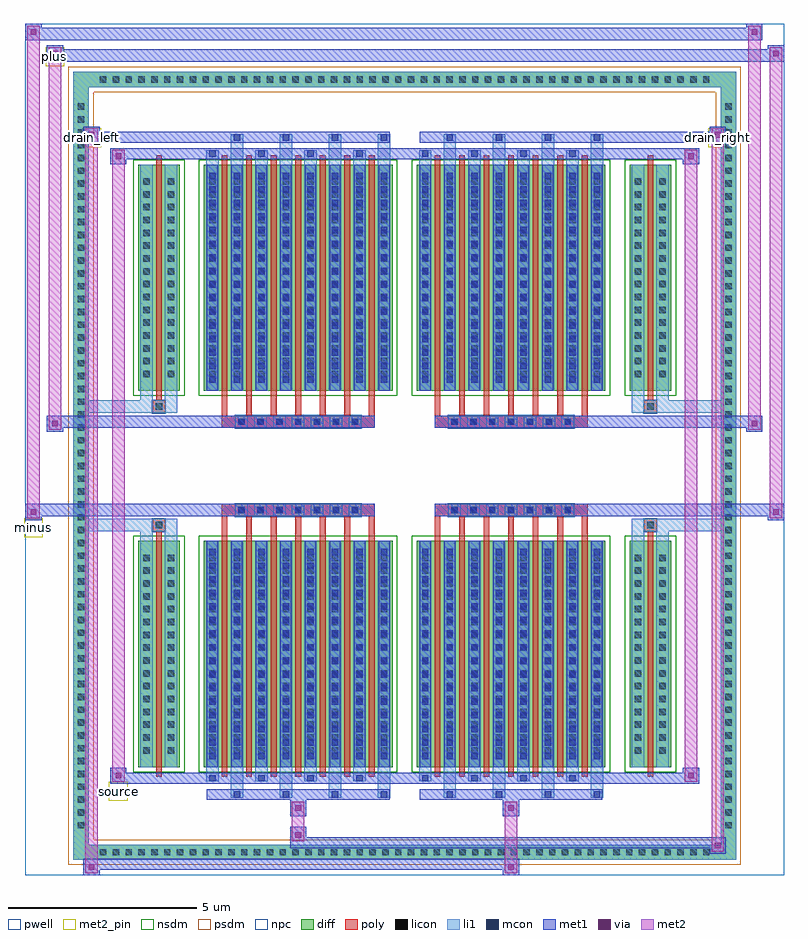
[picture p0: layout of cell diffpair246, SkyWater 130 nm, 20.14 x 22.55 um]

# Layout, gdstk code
import gdstk
lib = gdstk.Library(unit=1e-6, precision=5e-09)
def R(c, l, rs):  # rectangles x0, y0, x1, y1
    for r in rs: c.add(gdstk.rectangle(r[:2], r[2:], *l))
def A(c, l, x, y, w, h, nx, ny, dx, dy):  # array of equal rectangles
    R(c, l, [(x+i*dx, y+j*dy, x+i*dx+w, y+j*dy+h) for i in range(nx) for j in range(ny)])
def P(c, l, *ps):  # polygons
    for p in ps: c.add(gdstk.Polygon(p, *l))
pwell = (64, 44)
diff = (65, 20)
poly = (66, 20)
licon = (66, 44)
li1 = (67, 20)
mcon = (67, 44)
met1 = (68, 20)
via = (68, 44)
met2_pin = (69, 16)
met2 = (69, 20)
nsdm = (93, 44)
psdm = (94, 20)
npc = (95, 20)

diffpair246 = lib.new_cell('diffpair246')
R(diffpair246, pwell, [(-10.05,-10.84,10.05,11.71), (-7.37,-9.03,-0.01,-0.805), (0.01,-9.03,7.37,-0.805), (-7.37,0.805,-0.01,9.03), (0.01,0.805,7.37,9.03)])
A(diffpair246, diff, -8.195, -10.44, 0.41, 0.41, 48, 2, 0.34, 20.47)
A(diffpair246, diff, -8.78, -9.725, 0.41, 0.41, 1, 57, 0, 0.34)
A(diffpair246, diff, 8.37, -9.725, 0.41, 0.41, 1, 57, 0, 0.34)
R(diffpair246, diff, [(-8.195,-10.44,8.195,-10.03), (-8.78,-9.725,-8.37,9.725), (8.37,-9.725,8.78,9.725), (-7.06,-7.985,-5.96,-1.985), (-5.32,-7.985,-0.32,-1.985), (0.32,-7.985,5.32,-1.985), (5.96,-7.985,7.06,-1.985), (-7.06,1.985,-5.96,7.985), (-5.32,1.985,-0.32,7.985), (0.32,1.985,5.32,7.985), (5.96,1.985,7.06,7.985), (-8.195,10.03,8.195,10.44)])
P(diffpair246, diff, [(8.78,10.44),(-8.78,10.44),(-8.78,-10.03),(-8.37,-10.03),(-8.37,10.03),(8.37,10.03),(8.37,-10.03),(-8.37,-10.03),(-8.78,-10.03),(-8.78,-10.44),(8.78,-10.44)])
A(diffpair246, poly, -4.845, -8.235, 0.15, 6.5, 7, 2, 0.65, 9.97)
A(diffpair246, poly, 0.795, -8.235, 0.15, 6.5, 7, 2, 0.65, 9.97)
A(diffpair246, poly, -4.845, -1.735, 0.15, 0.4, 7, 2, 0.65, 3.07)
A(diffpair246, poly, 0.795, -1.735, 0.15, 0.4, 7, 2, 0.65, 3.07)
A(diffpair246, poly, -4.485, -1.335, 0.33, 0.33, 7, 2, 0.5, 2.34)
A(diffpair246, poly, 1.155, -1.335, 0.33, 0.33, 7, 2, 0.5, 2.34)
R(diffpair246, poly, [(-6.585,-8.235,-6.435,-1.735), (6.435,-8.235,6.585,-1.735), (-6.675,-1.735,-6.345,-1.405), (-6.675,-1.735,-6.345,-1.405), (6.345,-1.735,6.675,-1.405), (6.345,-1.735,6.675,-1.405), (-4.845,-1.335,-0.795,-1.005), (0.795,-1.335,4.845,-1.005), (-4.845,1.005,-0.795,1.335), (0.795,1.005,4.845,1.335), (-6.675,1.405,-6.345,1.735), (-6.675,1.405,-6.345,1.735), (6.345,1.405,6.675,1.735), (6.345,1.405,6.675,1.735), (-6.585,1.735,-6.435,8.235), (6.435,1.735,6.585,8.235)])
A(diffpair246, licon, -8.075, -10.32, 0.17, 0.17, 48, 2, 0.34, 20.47)
A(diffpair246, licon, -8.66, -9.605, 0.17, 0.17, 1, 57, 0, 0.34)
A(diffpair246, licon, 8.49, -9.605, 0.17, 0.17, 1, 57, 0, 0.34)
A(diffpair246, licon, -6.92, -7.62, 0.17, 0.17, 1, 16, 0, 0.34)
A(diffpair246, licon, -6.27, -7.62, 0.17, 0.17, 1, 16, 0, 0.34)
A(diffpair246, licon, -5.18, -7.62, 0.17, 0.17, 8, 16, 0.65, 0.34)
A(diffpair246, licon, 0.46, -7.62, 0.17, 0.17, 8, 16, 0.65, 0.34)
A(diffpair246, licon, 6.1, -7.62, 0.17, 0.17, 1, 16, 0, 0.34)
A(diffpair246, licon, 6.75, -7.62, 0.17, 0.17, 1, 16, 0, 0.34)
A(diffpair246, licon, -4.405, -1.255, 0.17, 0.17, 7, 2, 0.5, 2.34)
A(diffpair246, licon, 1.235, -1.255, 0.17, 0.17, 7, 2, 0.5, 2.34)
A(diffpair246, licon, -6.92, 2.35, 0.17, 0.17, 1, 16, 0, 0.34)
A(diffpair246, licon, -6.27, 2.35, 0.17, 0.17, 1, 16, 0, 0.34)
A(diffpair246, licon, -5.18, 2.35, 0.17, 0.17, 8, 16, 0.65, 0.34)
A(diffpair246, licon, 0.46, 2.35, 0.17, 0.17, 8, 16, 0.65, 0.34)
A(diffpair246, licon, 6.1, 2.35, 0.17, 0.17, 1, 16, 0, 0.34)
A(diffpair246, licon, 6.75, 2.35, 0.17, 0.17, 1, 16, 0, 0.34)
R(diffpair246, licon, [(-6.595,-1.655,-6.425,-1.485), (6.425,-1.655,6.595,-1.485), (-6.595,1.485,-6.425,1.655), (6.425,1.485,6.595,1.655)])
A(diffpair246, li1, -8.155, -10.4, 0.33, 0.33, 48, 2, 0.34, 20.47)
A(diffpair246, li1, -8.74, -9.685, 0.33, 0.33, 1, 57, 0, 0.34)
A(diffpair246, li1, 8.41, -9.685, 0.33, 0.33, 1, 57, 0, 0.34)
A(diffpair246, li1, -4.61, -8.79, 0.33, 0.805, 4, 2, 1.3, 16.775)
A(diffpair246, li1, -4.53, -8.79, 0.17, 0.17, 4, 2, 1.3, 17.41)
A(diffpair246, li1, 1.03, -8.79, 0.33, 0.805, 4, 2, 1.3, 16.775)
A(diffpair246, li1, 1.11, -8.79, 0.17, 0.17, 4, 2, 1.3, 17.41)
A(diffpair246, li1, -5.26, -8.36, 0.33, 0.375, 4, 2, 1.3, 16.345)
A(diffpair246, li1, -5.18, -8.36, 0.17, 0.17, 4, 2, 1.3, 16.55)
A(diffpair246, li1, 0.38, -8.36, 0.33, 0.375, 4, 2, 1.3, 16.345)
A(diffpair246, li1, 0.46, -8.36, 0.17, 0.17, 4, 2, 1.3, 16.55)
A(diffpair246, li1, -5.26, -7.985, 0.33, 6, 8, 2, 0.65, 9.97)
A(diffpair246, li1, 0.38, -7.985, 0.33, 6, 8, 2, 0.65, 9.97)
A(diffpair246, li1, -5.18, -7.77, 0.17, 0.17, 8, 16, 0.65, 0.36)
A(diffpair246, li1, -5.18, -7.77, 0.17, 5.57, 8, 2, 0.65, 9.97)
A(diffpair246, li1, 0.46, -7.77, 0.17, 0.17, 8, 16, 0.65, 0.36)
A(diffpair246, li1, 0.46, -7.77, 0.17, 5.57, 8, 2, 0.65, 9.97)
A(diffpair246, li1, -7, -7.7, 0.33, 0.33, 1, 16, 0, 0.34)
A(diffpair246, li1, -6.35, -7.7, 0.33, 0.33, 1, 16, 0, 0.34)
A(diffpair246, li1, -5.26, -7.7, 0.33, 0.33, 8, 16, 0.65, 0.34)
A(diffpair246, li1, 0.38, -7.7, 0.33, 0.33, 8, 16, 0.65, 0.34)
A(diffpair246, li1, 6.02, -7.7, 0.33, 0.33, 1, 16, 0, 0.34)
A(diffpair246, li1, 6.67, -7.7, 0.33, 0.33, 1, 16, 0, 0.34)
A(diffpair246, li1, -4.485, -1.335, 0.33, 0.33, 7, 2, 0.5, 2.34)
A(diffpair246, li1, 1.155, -1.335, 0.33, 0.33, 7, 2, 0.5, 2.34)
A(diffpair246, li1, -5.18, 2.2, 0.17, 0.17, 8, 16, 0.65, 0.36)
A(diffpair246, li1, 0.46, 2.2, 0.17, 0.17, 8, 16, 0.65, 0.36)
A(diffpair246, li1, -7, 2.27, 0.33, 0.33, 1, 16, 0, 0.34)
A(diffpair246, li1, -6.35, 2.27, 0.33, 0.33, 1, 16, 0, 0.34)
A(diffpair246, li1, -5.26, 2.27, 0.33, 0.33, 8, 16, 0.65, 0.34)
A(diffpair246, li1, 0.38, 2.27, 0.33, 0.33, 8, 16, 0.65, 0.34)
A(diffpair246, li1, 6.02, 2.27, 0.33, 0.33, 1, 16, 0, 0.34)
A(diffpair246, li1, 6.67, 2.27, 0.33, 0.33, 1, 16, 0, 0.34)
R(diffpair246, li1, [(-8.78,-10.44,-8.37,-10.03), (-8.78,-10.44,-8.37,-10.03), (-8.37,-10.44,8.37,-10.03), (8.37,-10.44,8.78,-10.03), (8.37,-10.44,8.78,-10.03), (-8.78,-10.03,-8.37,10.03), (8.37,-10.03,8.78,10.03), (-7,-7.985,-6.67,-1.985), (-6.35,-7.985,-6.02,-1.985), (6.02,-7.985,6.35,-1.985), (6.67,-7.985,7,-1.985), (-7,-1.985,-6.67,-1.405), (-6.35,-1.985,-6.02,-1.405), (6.02,-1.985,6.35,-1.405), (6.67,-1.985,7,-1.405), (-8.78,-1.735,-6.675,-1.405), (-7,-1.735,-6.675,-1.405), (-6.675,-1.735,-6.345,-1.405), (-6.345,-1.735,-6.02,-1.405), (6.02,-1.735,6.345,-1.405), (6.345,-1.735,6.675,-1.405), (6.345,-1.735,8.78,-1.405), (6.675,-1.735,7,-1.405), (-8.78,1.405,-6.675,1.735), (-7,1.405,-6.675,1.735), (-7,1.405,-6.67,1.985), (-6.675,1.405,-6.345,1.735), (-6.35,1.405,-6.02,1.985), (-6.345,1.405,-6.02,1.735), (6.02,1.405,6.345,1.735), (6.02,1.405,6.35,1.985), (6.345,1.405,6.675,1.735), (6.345,1.405,8.78,1.735), (6.67,1.405,7,1.985), (6.675,1.405,7,1.735), (-7,1.985,-6.67,7.985), (-6.35,1.985,-6.02,7.985), (6.02,1.985,6.35,7.985), (6.67,1.985,7,7.985), (-8.78,10.03,-8.37,10.44), (-8.78,10.03,-8.37,10.44), (-8.37,10.03,8.37,10.44), (8.37,10.03,8.78,10.44), (8.37,10.03,8.78,10.44)])
A(diffpair246, mcon, -4.53, -8.79, 0.17, 0.17, 4, 2, 1.3, 17.41)
A(diffpair246, mcon, 1.11, -8.79, 0.17, 0.17, 4, 2, 1.3, 17.41)
A(diffpair246, mcon, -5.18, -8.36, 0.17, 0.17, 4, 2, 1.3, 16.55)
A(diffpair246, mcon, 0.46, -8.36, 0.17, 0.17, 4, 2, 1.3, 16.55)
A(diffpair246, mcon, -5.18, -7.77, 0.17, 0.17, 8, 16, 0.65, 0.36)
A(diffpair246, mcon, 0.46, -7.77, 0.17, 0.17, 8, 16, 0.65, 0.36)
A(diffpair246, mcon, -4.405, -1.255, 0.17, 0.17, 7, 2, 0.5, 2.34)
A(diffpair246, mcon, 1.235, -1.255, 0.17, 0.17, 7, 2, 0.5, 2.34)
A(diffpair246, mcon, -5.18, 2.2, 0.17, 0.17, 8, 16, 0.65, 0.36)
A(diffpair246, mcon, 0.46, 2.2, 0.17, 0.17, 8, 16, 0.65, 0.36)
A(diffpair246, met1, -4.59, -8.85, 0.29, 0.29, 4, 2, 1.3, 17.41)
A(diffpair246, met1, 1.05, -8.85, 0.29, 0.29, 4, 2, 1.3, 17.41)
A(diffpair246, met1, -5.24, -8.42, 0.29, 0.29, 4, 2, 1.3, 16.55)
A(diffpair246, met1, 0.4, -8.42, 0.29, 0.29, 4, 2, 1.3, 16.55)
A(diffpair246, met1, -5.24, -7.985, 0.29, 6, 8, 2, 0.65, 9.97)
A(diffpair246, met1, 0.4, -7.985, 0.29, 6, 8, 2, 0.65, 9.97)
A(diffpair246, met1, -5.24, -7.83, 0.29, 0.29, 8, 16, 0.65, 0.36)
A(diffpair246, met1, 0.4, -7.83, 0.29, 0.29, 8, 16, 0.65, 0.36)
A(diffpair246, met1, -4.465, -1.315, 0.29, 0.29, 7, 2, 0.5, 2.34)
A(diffpair246, met1, 1.175, -1.315, 0.29, 0.29, 7, 2, 0.5, 2.34)
A(diffpair246, met1, -5.24, 2.14, 0.29, 0.29, 8, 16, 0.65, 0.36)
A(diffpair246, met1, 0.4, 2.14, 0.29, 0.29, 8, 16, 0.65, 0.36)
R(diffpair246, met1, [(-8.51,-10.84,-8.08,-10.41), (2.605,-10.84,3.035,-10.41), (-8.51,-10.7,3.035,-10.41), (8.08,-10.27,8.51,-9.84), (-3.035,-10.13,8.51,-9.84), (-3.035,-9.99,-2.605,-9.56), (-3.035,-9.28,-2.605,-8.85), (2.605,-9.28,3.035,-8.85), (-5.24,-8.85,-0.4,-8.56), (0.4,-8.85,5.24,-8.56), (-7.8,-8.42,-7.37,-7.99), (-7.8,-8.42,-5.24,-8.13), (-5.24,-8.42,-0.4,-8.13), (-0.4,-8.42,0.4,-8.13), (0.4,-8.42,5.24,-8.13), (5.24,-8.42,7.8,-8.13), (7.37,-8.42,7.8,-7.99), (-10.05,-1.435,-9.62,-1.005), (9.62,-1.435,10.05,-1.005), (-10.05,-1.335,-0.795,-1.005), (-4.845,-1.335,-0.795,-1.005), (0.795,-1.335,4.845,-1.005), (0.795,-1.335,10.05,-1.005), (-9.48,0.905,-9.05,1.335), (9.05,0.905,9.48,1.335), (-9.48,1.005,-4.845,1.335), (-4.845,1.005,-0.795,1.335), (0.795,1.005,4.845,1.335), (4.845,1.005,9.48,1.335), (-7.8,7.99,-7.37,8.42), (7.37,7.99,7.8,8.42), (-7.8,8.13,-5.24,8.42), (-5.24,8.13,-0.4,8.42), (-0.4,8.13,0.4,8.42), (0.4,8.13,5.24,8.42), (5.24,8.13,7.8,8.42), (-8.51,8.56,-8.08,8.99), (-8.51,8.56,-5.24,8.85), (-5.24,8.56,-0.4,8.85), (0.4,8.56,5.24,8.85), (5.24,8.56,8.51,8.85), (8.08,8.56,8.51,8.99), (-9.48,10.71,-9.05,11.14), (-9.48,10.71,-7.37,11.04), (-7.37,10.71,7.37,11.04), (7.37,10.71,10.05,11.04), (9.62,10.71,10.05,11.14), (-10.05,11.28,-9.62,11.71), (-10.05,11.28,-7.37,11.61), (-7.37,11.28,7.37,11.61), (7.37,11.28,9.48,11.61), (9.05,11.28,9.48,11.71)])
R(diffpair246, via, [(-8.37,-10.7,-8.22,-10.55), (2.745,-10.7,2.895,-10.55), (8.22,-10.13,8.37,-9.98), (-2.895,-9.85,-2.745,-9.7), (-2.895,-9.14,-2.745,-8.99), (2.745,-9.14,2.895,-8.99), (-7.66,-8.28,-7.51,-8.13), (7.51,-8.28,7.66,-8.13), (-9.91,-1.295,-9.76,-1.145), (9.76,-1.295,9.91,-1.145), (-9.34,1.045,-9.19,1.195), (9.19,1.045,9.34,1.195), (-7.66,8.13,-7.51,8.28), (7.51,8.13,7.66,8.28), (-8.37,8.7,-8.22,8.85), (8.22,8.7,8.37,8.85), (-9.34,10.85,-9.19,11), (9.76,10.85,9.91,11), (-9.91,11.42,-9.76,11.57), (9.19,11.42,9.34,11.57)])
R(diffpair246, met2_pin, [(-7.835,-8.87,-7.335,-8.37), (-10.085,-1.885,-9.585,-1.385), (-8.545,8.44,-8.045,8.94), (8.045,8.44,8.545,8.94), (-9.515,10.59,-9.015,11.09)])
R(diffpair246, met2, [(-8.46,-10.79,-8.13,-10.46), (-8.46,-10.79,-8.13,8.94), (2.655,-10.79,2.985,-10.46), (2.655,-10.46,2.985,-9.23), (8.13,-10.22,8.46,-9.89), (8.13,-10.22,8.46,8.94), (-2.985,-9.94,-2.655,-9.61), (-2.985,-9.61,-2.655,-9.23), (-2.985,-9.23,-2.655,-8.9), (2.655,-9.23,2.985,-8.9), (-7.75,-8.37,-7.42,-8.04), (-7.75,-8.37,-7.42,8.37), (7.42,-8.37,7.75,-8.04), (7.42,-8.37,7.75,8.37), (-10,-1.385,-9.67,-1.055), (-10,-1.385,-9.67,11.66), (9.67,-1.385,10,-1.055), (9.67,-1.385,10,11.09), (-9.43,0.955,-9.1,1.285), (-9.43,0.955,-9.1,11.09), (9.1,0.955,9.43,1.285), (9.1,0.955,9.43,11.66), (-7.75,8.04,-7.42,8.37), (7.42,8.04,7.75,8.37), (-8.46,8.61,-8.13,8.94), (8.13,8.61,8.46,8.94), (-9.43,10.76,-9.1,11.09), (9.67,10.76,10,11.09), (-10,11.33,-9.67,11.66), (9.1,11.33,9.43,11.66)])
P(diffpair246, met2, [(10,-1.385),(10,-1.385),(10,-1.055),(10,-1.055)],
  [(10,10.76),(10,10.76),(10,11.09),(10,11.09)],
  [(-9.67,-1.385),(-9.67,-1.385),(-9.67,-1.055),(-9.67,-1.055)],
  [(-9.67,11.33),(-9.67,11.33),(-9.67,11.66),(-9.67,11.66)],
  [(9.43,0.955),(9.43,0.955),(9.43,1.285),(9.43,1.285)],
  [(9.43,11.33),(9.43,11.33),(9.43,11.66),(9.43,11.66)],
  [(-9.1,0.955),(-9.1,0.955),(-9.1,1.285),(-9.1,1.285)],
  [(-9.1,10.76),(-9.1,10.76),(-9.1,11.09),(-9.1,11.09)],
  [(-8.13,-10.79),(-8.13,-10.79),(-8.13,-10.46),(-8.13,-10.46)],
  [(-8.13,8.61),(-8.13,8.61),(-8.13,8.94),(-8.13,8.94)],
  [(8.46,-10.22),(8.46,-10.22),(8.46,-9.89),(8.46,-9.89)],
  [(8.46,8.61),(8.46,8.61),(8.46,8.94),(8.46,8.94)],
  [(-7.42,-8.37),(-7.42,-8.37),(-7.42,-8.04),(-7.42,-8.04)],
  [(-7.42,8.04),(-7.42,8.04),(-7.42,8.37),(-7.42,8.37)],
  [(7.75,-8.37),(7.75,-8.37),(7.75,-8.04),(7.75,-8.04)],
  [(7.75,8.04),(7.75,8.04),(7.75,8.37),(7.75,8.37)])
R(diffpair246, nsdm, [(-7.19,-8.115,-5.83,-1.855), (-5.45,-8.115,-0.19,-1.855), (0.19,-8.115,5.45,-1.855), (5.83,-8.115,7.19,-1.855), (-7.19,1.855,-5.83,8.115), (-5.45,1.855,-0.19,8.115), (0.19,1.855,5.45,8.115), (5.83,1.855,7.19,8.115)])
P(diffpair246, psdm, [(8.91,10.57),(-8.91,10.57),(-8.91,-9.9),(-8.24,-9.9),(-8.24,9.9),(8.24,9.9),(8.24,-9.9),(-8.24,-9.9),(-8.91,-9.9),(-8.91,-10.57),(8.91,-10.57)])
A(diffpair246, npc, -4.505, -1.355, 0.37, 0.37, 7, 2, 0.5, 2.34)
A(diffpair246, npc, 1.135, -1.355, 0.37, 0.37, 7, 2, 0.5, 2.34)
R(diffpair246, npc, [(-6.695,-1.755,-6.325,-1.385), (6.325,-1.755,6.695,-1.385), (-4.505,-1.355,-3.635,-0.985), (-4.505,-1.355,-3.635,-0.985), (-4.005,-1.355,-3.135,-0.985), (-4.005,-1.355,-3.135,-0.985), (-3.505,-1.355,-2.635,-0.985), (-3.505,-1.355,-2.635,-0.985), (-3.005,-1.355,-2.135,-0.985), (-3.005,-1.355,-2.135,-0.985), (-2.505,-1.355,-1.635,-0.985), (-2.505,-1.355,-1.635,-0.985), (-2.005,-1.355,-1.135,-0.985), (-2.005,-1.355,-1.135,-0.985), (1.135,-1.355,2.005,-0.985), (1.135,-1.355,2.005,-0.985), (1.635,-1.355,2.505,-0.985), (1.635,-1.355,2.505,-0.985), (2.135,-1.355,3.005,-0.985), (2.135,-1.355,3.005,-0.985), (2.635,-1.355,3.505,-0.985), (2.635,-1.355,3.505,-0.985), (3.135,-1.355,4.005,-0.985), (3.135,-1.355,4.005,-0.985), (3.635,-1.355,4.505,-0.985), (3.635,-1.355,4.505,-0.985), (-4.505,0.985,-3.635,1.355), (-4.505,0.985,-3.635,1.355), (-4.005,0.985,-3.135,1.355), (-4.005,0.985,-3.135,1.355), (-3.505,0.985,-2.635,1.355), (-3.505,0.985,-2.635,1.355), (-3.005,0.985,-2.135,1.355), (-3.005,0.985,-2.135,1.355), (-2.505,0.985,-1.635,1.355), (-2.505,0.985,-1.635,1.355), (-2.005,0.985,-1.135,1.355), (-2.005,0.985,-1.135,1.355), (1.135,0.985,2.005,1.355), (1.135,0.985,2.005,1.355), (1.635,0.985,2.505,1.355), (1.635,0.985,2.505,1.355), (2.135,0.985,3.005,1.355), (2.135,0.985,3.005,1.355), (2.635,0.985,3.505,1.355), (2.635,0.985,3.505,1.355), (3.135,0.985,4.005,1.355), (3.135,0.985,4.005,1.355), (3.635,0.985,4.505,1.355), (3.635,0.985,4.505,1.355), (-6.695,1.385,-6.325,1.755), (6.325,1.385,6.695,1.755)])
diffpair246.add(gdstk.Label('minus', (-9.835,-1.635), layer=69, texttype=5))
diffpair246.add(gdstk.Label('drain_right', (8.295,8.69), layer=69, texttype=5))
diffpair246.add(gdstk.Label('drain_left', (-8.295,8.69), layer=69, texttype=5))
diffpair246.add(gdstk.Label('source', (-7.585,-8.62), layer=69, texttype=5))
diffpair246.add(gdstk.Label('plus', (-9.265,10.84), layer=69, texttype=5))

lib.write_gds('diffpair246.gds')
